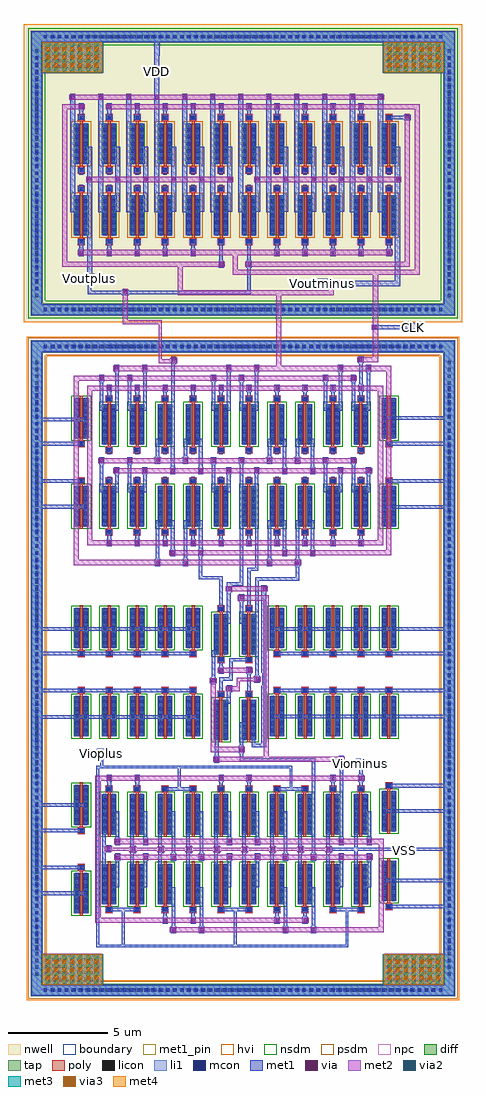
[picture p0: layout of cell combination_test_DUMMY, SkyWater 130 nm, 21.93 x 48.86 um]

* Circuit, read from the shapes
.subckt combination_test_DUMMY CLK VDD VSS Viominus Vioplus Voutminus Voutplus
XM1 VSS VSS VSS VSS sky130_fd_pr__nfet_01v8 w=2 l=0.15 m=28
XM2 n1 Vioplus VSS VSS sky130_fd_pr__nfet_01v8 w=2 l=0.15 m=10
XM3 n2 Viominus VSS VSS sky130_fd_pr__nfet_01v8 w=2 l=0.15 m=10
XM4 Voutplus CLK n3 VSS sky130_fd_pr__nfet_01v8 w=2 l=0.15 m=10
XM5 Voutminus CLK n4 VSS sky130_fd_pr__nfet_01v8 w=2 l=0.15 m=10
XM6 n4 Voutplus n2 VSS sky130_fd_pr__nfet_01v8 w=2 l=0.15 m=2
XM7 n3 Voutminus n1 VSS sky130_fd_pr__nfet_01v8 w=2 l=0.15 m=2
XM8 Voutplus CLK VDD VDD sky130_fd_pr__pfet_g5v0d10v5 w=2 l=0.15 m=10
XM9 Voutplus Voutminus VDD VDD sky130_fd_pr__pfet_g5v0d10v5 w=2 l=0.15 m=2
XM10 Voutminus Voutplus VDD VDD sky130_fd_pr__pfet_g5v0d10v5 w=2 l=0.15 m=2
XM11 Voutminus CLK VDD VDD sky130_fd_pr__pfet_g5v0d10v5 w=2 l=0.15 m=10
.ends

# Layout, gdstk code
import gdstk
lib = gdstk.Library(unit=1e-6, precision=1e-09)
def R(c, l, rs):  # rectangles x0, y0, x1, y1
    for r in rs: c.add(gdstk.rectangle(r[:2], r[2:], *l))
def A(c, l, x, y, w, h, nx, ny, dx, dy):  # array of equal rectangles
    R(c, l, [(x+i*dx, y+j*dy, x+i*dx+w, y+j*dy+h) for i in range(nx) for j in range(ny)])
nwell = (64, 20)
diff = (65, 20)
tap = (65, 44)
poly = (66, 20)
licon = (66, 44)
li1 = (67, 20)
mcon = (67, 44)
met1_pin = (68, 16)
met1 = (68, 20)
via = (68, 44)
met2 = (69, 20)
via2 = (69, 44)
met3 = (70, 20)
via3 = (70, 44)
met4 = (71, 20)
hvi = (75, 20)
nsdm = (93, 44)
psdm = (94, 20)
npc = (95, 20)
boundary = (235, 4)

sky130_fd_pr__nfet_01v8_ = lib.new_cell('sky130_fd_pr__nfet_01v8_72KZQ8')
R(sky130_fd_pr__nfet_01v8_, diff, [(-0.365,-1.155,0.365,0.845)])
R(sky130_fd_pr__nfet_01v8_, poly, [(-0.075,-1.285,0.075,0.955), (-0.165,0.955,0.165,1.285)])
A(sky130_fd_pr__nfet_01v8_, licon, -0.305, -1.09, 0.17, 0.17, 1, 6, 0, 0.34)
A(sky130_fd_pr__nfet_01v8_, licon, 0.135, -1.09, 0.17, 0.17, 1, 6, 0, 0.34)
R(sky130_fd_pr__nfet_01v8_, licon, [(-0.085,1.035,0.085,1.205)])
R(sky130_fd_pr__nfet_01v8_, li1, [(-0.305,-1.175,-0.135,0.865), (0.135,-1.175,0.305,0.865), (-0.165,1.035,0.165,1.205)])
A(sky130_fd_pr__nfet_01v8_, mcon, -0.305, -0.96, 0.17, 0.17, 1, 5, 0, 0.36)
A(sky130_fd_pr__nfet_01v8_, mcon, 0.135, -0.96, 0.17, 0.17, 1, 5, 0, 0.36)
R(sky130_fd_pr__nfet_01v8_, mcon, [(-0.085,1.035,0.085,1.205)])
R(sky130_fd_pr__nfet_01v8_, met1, [(-0.335,-1.155,-0.105,0.845), (0.105,-1.155,0.335,0.845), (-0.145,1.005,0.145,1.235)])
R(sky130_fd_pr__nfet_01v8_, nsdm, [(-0.49,-1.28,0.49,0.97)])
R(sky130_fd_pr__nfet_01v8_, npc, [(-0.185,0.935,0.185,1.305)])

c_sky130_fd_pr__nfet_01v8_ = lib.new_cell('sky130_fd_pr__nfet_01v8_PRFKA7')
R(c_sky130_fd_pr__nfet_01v8_, diff, [(-0.365,-0.845,0.365,1.155)])
R(c_sky130_fd_pr__nfet_01v8_, poly, [(-0.165,-1.285,0.165,-0.955), (-0.075,-0.955,0.075,1.285)])
A(c_sky130_fd_pr__nfet_01v8_, licon, -0.305, -0.78, 0.17, 0.17, 1, 6, 0, 0.34)
A(c_sky130_fd_pr__nfet_01v8_, licon, 0.135, -0.78, 0.17, 0.17, 1, 6, 0, 0.34)
R(c_sky130_fd_pr__nfet_01v8_, licon, [(-0.085,-1.205,0.085,-1.035)])
R(c_sky130_fd_pr__nfet_01v8_, li1, [(-0.165,-1.205,0.165,-1.035), (-0.305,-0.865,-0.135,1.175), (0.135,-0.865,0.305,1.175)])
A(c_sky130_fd_pr__nfet_01v8_, mcon, -0.305, -0.65, 0.17, 0.17, 1, 5, 0, 0.36)
A(c_sky130_fd_pr__nfet_01v8_, mcon, 0.135, -0.65, 0.17, 0.17, 1, 5, 0, 0.36)
R(c_sky130_fd_pr__nfet_01v8_, mcon, [(-0.085,-1.205,0.085,-1.035)])
R(c_sky130_fd_pr__nfet_01v8_, met1, [(-0.145,-1.235,0.145,-1.005), (-0.335,-0.845,-0.105,1.155), (0.105,-0.845,0.335,1.155)])
R(c_sky130_fd_pr__nfet_01v8_, nsdm, [(-0.49,-0.97,0.49,1.28)])
R(c_sky130_fd_pr__nfet_01v8_, npc, [(-0.185,-1.305,0.185,-0.935)])

c_sky130_fd_pr__nfet_01v8__ = lib.new_cell('sky130_fd_pr__nfet_01v8_PHZV97')
R(c_sky130_fd_pr__nfet_01v8__, diff, [(-0.365,-1,0.365,1)])
R(c_sky130_fd_pr__nfet_01v8__, poly, [(-0.165,-1.44,0.165,-1.11), (-0.075,-1.11,0.075,1.11), (-0.165,1.11,0.165,1.44)])
A(c_sky130_fd_pr__nfet_01v8__, licon, -0.305, -0.935, 0.17, 0.17, 1, 6, 0, 0.34)
A(c_sky130_fd_pr__nfet_01v8__, licon, 0.135, -0.935, 0.17, 0.17, 1, 6, 0, 0.34)
R(c_sky130_fd_pr__nfet_01v8__, licon, [(-0.085,-1.36,0.085,-1.19), (-0.085,1.19,0.085,1.36)])
R(c_sky130_fd_pr__nfet_01v8__, li1, [(-0.165,-1.36,0.165,-1.19), (-0.305,-1.02,-0.135,1.02), (0.135,-1.02,0.305,1.02), (-0.165,1.19,0.165,1.36)])
A(c_sky130_fd_pr__nfet_01v8__, mcon, -0.305, -0.805, 0.17, 0.17, 1, 5, 0, 0.36)
A(c_sky130_fd_pr__nfet_01v8__, mcon, 0.135, -0.805, 0.17, 0.17, 1, 5, 0, 0.36)
R(c_sky130_fd_pr__nfet_01v8__, mcon, [(-0.085,-1.36,0.085,-1.19), (-0.085,1.19,0.085,1.36)])
R(c_sky130_fd_pr__nfet_01v8__, met1, [(-0.145,-1.39,0.145,-1.16), (-0.335,-1,-0.105,1), (0.105,-1,0.335,1), (-0.145,1.16,0.145,1.39)])
R(c_sky130_fd_pr__nfet_01v8__, nsdm, [(-0.49,-1.125,0.49,1.125)])
R(c_sky130_fd_pr__nfet_01v8__, npc, [(-0.185,-1.46,0.185,-1.09), (-0.185,1.09,0.185,1.46)])

sky130_fd_pr__pfet_01v8_ = lib.new_cell('sky130_fd_pr__pfet_01v8_MJ75SZ')
R(sky130_fd_pr__pfet_01v8_, nwell, [(-0.545,-1.5,0.545,1.5)])
R(sky130_fd_pr__pfet_01v8_, diff, [(-0.365,-1,0.365,1)])
R(sky130_fd_pr__pfet_01v8_, poly, [(-0.165,-1.485,0.165,-1.155), (-0.075,-1.155,0.075,1.155), (-0.165,1.155,0.165,1.485)])
A(sky130_fd_pr__pfet_01v8_, licon, -0.305, -0.935, 0.17, 0.17, 1, 6, 0, 0.34)
A(sky130_fd_pr__pfet_01v8_, licon, 0.135, -0.935, 0.17, 0.17, 1, 6, 0, 0.34)
R(sky130_fd_pr__pfet_01v8_, licon, [(-0.085,-1.405,0.085,-1.235), (-0.085,1.235,0.085,1.405)])
R(sky130_fd_pr__pfet_01v8_, li1, [(-0.165,-1.405,0.165,-1.235), (-0.305,-1.02,-0.135,1.02), (0.135,-1.02,0.305,1.02), (-0.165,1.235,0.165,1.405)])
A(sky130_fd_pr__pfet_01v8_, mcon, -0.305, -0.805, 0.17, 0.17, 1, 5, 0, 0.36)
A(sky130_fd_pr__pfet_01v8_, mcon, 0.135, -0.805, 0.17, 0.17, 1, 5, 0, 0.36)
R(sky130_fd_pr__pfet_01v8_, mcon, [(-0.085,-1.405,0.085,-1.235), (-0.085,1.235,0.085,1.405)])
R(sky130_fd_pr__pfet_01v8_, met1, [(-0.145,-1.435,0.145,-1.205), (-0.335,-1,-0.105,1), (0.105,-1,0.335,1), (-0.145,1.205,0.145,1.435)])
R(sky130_fd_pr__pfet_01v8_, psdm, [(-0.49,-1.125,0.49,1.125)])
R(sky130_fd_pr__pfet_01v8_, npc, [(-0.185,-1.505,0.185,-1.135), (-0.185,1.135,0.185,1.505)])

c_sky130_fd_pr__nfet_01v8___ = lib.new_cell('sky130_fd_pr__nfet_01v8_7B6TAC')
R(c_sky130_fd_pr__nfet_01v8___, diff, [(-0.365,-0.845,0.365,1.155)])
R(c_sky130_fd_pr__nfet_01v8___, poly, [(-0.165,-1.285,0.165,-0.955), (-0.075,-0.955,0.075,1.285)])
A(c_sky130_fd_pr__nfet_01v8___, licon, -0.305, -0.78, 0.17, 0.17, 1, 6, 0, 0.34)
A(c_sky130_fd_pr__nfet_01v8___, licon, 0.135, -0.78, 0.17, 0.17, 1, 6, 0, 0.34)
R(c_sky130_fd_pr__nfet_01v8___, licon, [(-0.085,-1.205,0.085,-1.035)])
R(c_sky130_fd_pr__nfet_01v8___, li1, [(-0.165,-1.205,0.165,-1.035), (-0.305,-0.865,-0.135,1.175), (0.135,-0.865,0.305,1.175)])
A(c_sky130_fd_pr__nfet_01v8___, mcon, -0.305, -0.65, 0.17, 0.17, 1, 5, 0, 0.36)
A(c_sky130_fd_pr__nfet_01v8___, mcon, 0.135, -0.65, 0.17, 0.17, 1, 5, 0, 0.36)
R(c_sky130_fd_pr__nfet_01v8___, mcon, [(-0.085,-1.205,0.085,-1.035)])
R(c_sky130_fd_pr__nfet_01v8___, met1, [(-0.145,-1.235,0.145,-1.005), (-0.335,-0.845,-0.105,1.155), (0.105,-0.845,0.335,1.155)])
R(c_sky130_fd_pr__nfet_01v8___, nsdm, [(-0.49,-0.97,0.49,1.28)])
R(c_sky130_fd_pr__nfet_01v8___, npc, [(-0.185,-1.305,0.185,-0.935)])

combination_test_dummy = lib.new_cell('combination_test_DUMMY')
R(combination_test_dummy, nwell, [(-2.87,-8.94,19.06,6)])
R(combination_test_dummy, tap, [(-2.54,-42.67,18.73,-42.05), (-2.54,-42.05,-1.92,-10.45), (18.11,-42.05,18.73,-10.45), (-2.54,-10.45,18.73,-9.83), (-2.54,-8.61,18.73,-7.99), (-2.54,-7.99,-1.92,5.05), (18.11,-7.99,18.73,5.05), (-2.54,5.05,18.73,5.67)])
A(combination_test_dummy, licon, -1.51, -42.445, 0.17, 0.17, 57, 2, 0.34, 32.22)
A(combination_test_dummy, licon, -2.315, -41.635, 0.17, 0.17, 1, 91, 0, 0.34)
A(combination_test_dummy, licon, 18.335, -41.635, 0.17, 0.17, 1, 91, 0, 0.34)
A(combination_test_dummy, licon, -1.51, -8.385, 0.17, 0.17, 57, 2, 0.34, 13.66)
A(combination_test_dummy, licon, -2.315, -7.675, 0.17, 0.17, 1, 37, 0, 0.34)
A(combination_test_dummy, licon, 18.335, -7.675, 0.17, 0.17, 1, 37, 0, 0.34)
R(combination_test_dummy, li1, [(-2.48,-42.61,18.67,-42.11), (-2.48,-42.11,-1.98,-10.39), (18.17,-42.11,18.67,-10.39), (-2.48,-10.39,18.67,-9.89), (-2.48,-8.55,18.67,-8.05), (-2.48,-8.05,-1.98,5.11), (18.17,-8.05,18.67,5.11), (-2.48,5.11,18.67,5.61)])
A(combination_test_dummy, mcon, -1.89, -42.445, 0.17, 0.17, 56, 2, 0.36, 32.22)
A(combination_test_dummy, mcon, -2.315, -40.375, 0.17, 0.17, 1, 79, 0, 0.36)
A(combination_test_dummy, mcon, 18.335, -40.375, 0.17, 0.17, 1, 79, 0, 0.36)
A(combination_test_dummy, mcon, -1.89, -8.385, 0.17, 0.17, 56, 2, 0.36, 13.66)
A(combination_test_dummy, mcon, -2.315, -7.315, 0.17, 0.17, 1, 33, 0, 0.36)
A(combination_test_dummy, mcon, 18.335, -7.315, 0.17, 0.17, 1, 33, 0, 0.36)
R(combination_test_dummy, met1_pin, [(15.92,-35.6,16.42,-35.1), (13.75,-31.28,14.25,-30.78), (0.77,-30.78,1.27,-30.28), (16.37,-9.46,16.87,-8.96), (11.84,-7.24,12.34,-6.74), (0.17,-7,0.67,-6.5), (3.53,3.35,4.03,3.85)])
A(combination_test_dummy, met1, 2.03, -40.08, 0.14, 1.66, 3, 1, 5.6, 0)
A(combination_test_dummy, met1, 1.31, -38.42, 1.58, 0.18, 3, 1, 5.6, 0)
A(combination_test_dummy, met1, 2.46, -36.12, 0.17, 0.62, 8, 1, 1.4, 0)
A(combination_test_dummy, met1, 1.69, -35.88, 0.26, 0.36, 10, 1, 1.4, 0)
A(combination_test_dummy, met1, 2.46, -35.5, 0.26, 0.36, 7, 1, 1.4, 0)
A(combination_test_dummy, met1, 2.46, -35.14, 0.17, 0.64, 8, 1, 1.4, 0)
A(combination_test_dummy, met1, 1.27, -20.14, 0.26, 0.36, 10, 2, 1.4, 7.72)
A(combination_test_dummy, met1, 1.31, -19.78, 0.18, 0.27, 10, 2, 1.4, 7.09)
A(combination_test_dummy, met1, 1.31, -16.96, 0.18, 0.3, 10, 2, 1.4, 1.42)
A(combination_test_dummy, met1, 1.65, -16.54, 0.26, 0.36, 10, 1, 1.4, 0)
A(combination_test_dummy, met1, -0.13, -5.62, 0.26, 0.36, 5, 1, 1.4, 0)
A(combination_test_dummy, met1, 9.67, -5.62, 0.26, 0.36, 5, 1, 1.4, 0)
A(combination_test_dummy, met1, -0.09, -5.26, 0.18, 0.45, 5, 1, 1.4, 0)
A(combination_test_dummy, met1, 9.71, -5.26, 0.18, 0.45, 5, 1, 1.4, 0)
A(combination_test_dummy, met1, -0.55, -3.42, 0.26, 5.93, 3, 1, 1.4, 0)
A(combination_test_dummy, met1, 5.05, -3.42, 0.26, 5.93, 8, 1, 1.4, 0)
A(combination_test_dummy, met1, 1.7, -3.41, 0.26, 3.26, 10, 1, 1.4, 0)
A(combination_test_dummy, met1, -0.09, -2.35, 0.18, 0.31, 12, 2, 1.4, 0.81)
A(combination_test_dummy, met1, -0.09, 1.23, 0.18, 0.45, 11, 1, 1.4, 0)
A(combination_test_dummy, met1, -0.13, 1.68, 0.26, 0.36, 11, 1, 1.4, 0)
R(combination_test_dummy, met1, [(-2.51,-42.64,18.7,-42.08), (-2.51,-42.08,1.1,-40.58), (15.09,-42.08,18.7,-40.58), (-2.51,-40.58,-1.95,-37.6), (18.14,-40.58,18.7,-38.26), (0.75,-40.22,13.37,-40.08), (0.75,-40.08,0.89,-31.26), (4.49,-39.52,4.75,-39.16), (5.89,-39.52,6.15,-39.16), (10.09,-39.52,10.35,-39.16), (11.49,-39.52,11.75,-39.16), (4.53,-39.16,4.71,-37.21), (5.93,-39.16,6.11,-37.21), (10.13,-39.16,10.31,-37.21), (11.53,-39.16,11.71,-37.21), (4.07,-39.05,4.33,-38.69), (5.47,-39.05,5.73,-38.69), (9.67,-39.05,9.93,-38.69), (11.07,-39.05,11.33,-38.69), (4.11,-38.69,4.29,-38.42), (5.51,-38.69,5.69,-38.42), (9.71,-38.69,9.89,-38.42), (11.11,-38.69,11.29,-38.42), (15.31,-38.26,18.7,-38.08), (18.14,-38.08,18.7,-36.97), (-2.51,-37.6,0.3,-37.42), (-2.51,-37.42,-1.95,-36.32), (1.73,-37.21,1.91,-35.88), (3.13,-37.21,3.31,-35.88), (7.33,-37.21,7.51,-35.88), (8.73,-37.21,8.91,-35.88), (12.93,-37.21,13.11,-35.88), (14.33,-37.21,14.51,-35.88), (15.16,-36.97,18.7,-36.79), (18.14,-36.79,18.7,-35.38), (-2.51,-36.32,0.09,-36.14), (-2.51,-36.14,-1.95,-34.46), (1.06,-36.12,1.23,-35.46), (13.66,-36.12,13.83,-35.38), (15.92,-35.6,16.42,-35.38), (4.53,-35.52,4.71,-33.41), (5.93,-35.52,6.11,-33.41), (10.13,-35.52,10.31,-33.41), (11.53,-35.52,11.71,-30.91), (12.26,-35.5,12.52,-35.38), (1.06,-35.46,1.49,-35.1), (12.26,-35.38,18.7,-35.24), (12.26,-35.24,12.52,-35.14), (13.66,-35.24,13.83,-34.5), (15.92,-35.24,16.42,-35.1), (17.39,-35.24,18.7,-35.23), (18.14,-35.23,18.7,-33.49), (1.06,-35.1,1.23,-34.5), (1.69,-35.1,1.95,-34.74), (3.09,-35.1,3.35,-34.74), (7.29,-35.1,7.55,-34.74), (8.69,-35.1,8.95,-34.74), (12.89,-35.1,13.15,-34.74), (14.29,-35.1,14.55,-34.74), (1.73,-34.74,1.91,-33.41), (3.13,-34.74,3.31,-33.41), (7.33,-34.74,7.51,-33.41), (8.73,-34.74,8.91,-33.41), (12.93,-34.74,13.11,-33.66), (14.33,-34.74,14.51,-33.41), (-2.51,-34.46,0.09,-34.28), (-2.51,-34.28,-1.95,-33.18), (12.93,-33.66,13.12,-30.98), (15.15,-33.49,18.7,-33.31), (18.14,-33.31,18.7,-32.22), (-2.51,-33.18,0.27,-33), (-2.51,-33,-1.95,-28.77), (1.31,-32.38,1.49,-31.93), (2.71,-32.38,2.89,-31.93), (4.11,-32.38,5.69,-32.2), (6.91,-32.38,7.09,-31.93), (8.31,-32.38,8.49,-31.93), (9.71,-32.38,11.29,-32.2), (12.51,-32.38,12.69,-31.93), (13.91,-32.38,14.09,-31.93), (15.31,-32.22,18.7,-32.04), (4.83,-32.2,4.97,-31.26), (10.43,-32.2,10.57,-31.26), (18.14,-32.04,18.7,-28.75), (1.27,-31.93,1.53,-31.57), (2.67,-31.93,2.93,-31.57), (6.87,-31.93,7.13,-31.57), (8.27,-31.93,8.53,-31.57), (12.47,-31.93,12.73,-31.57), (13.87,-31.93,14.13,-31.57), (13.91,-31.57,14.08,-31.28), (13.75,-31.28,14.25,-30.78), (0.75,-31.26,10.57,-31.12), (0.95,-31.12,1.09,-30.78), (6.65,-30.98,6.91,-30.62), (12.88,-30.98,13.14,-30.62), (7.92,-30.91,11.71,-30.75), (0.77,-30.78,1.27,-30.28), (7.92,-30.75,8.1,-30.5), (6.69,-30.62,6.87,-29.76), (7.88,-30.5,8.14,-30.14), (8.53,-30.2,9.27,-30.02), (7.92,-30.14,8.1,-28.96), (8.53,-30.02,8.71,-28.96), (9.02,-30.02,9.27,-27.12), (-2.51,-28.77,5.88,-28.59), (9.55,-28.75,18.7,-28.57), (-2.51,-28.59,-1.95,-27.46), (18.14,-28.57,18.7,-27.46), (7.29,-28.03,7.47,-27.45), (6.91,-27.47,7.09,-26.88), (-2.51,-27.46,5.69,-27.28), (8.31,-27.46,8.49,-26.53), (9.71,-27.46,18.7,-27.28), (7.29,-27.45,7.55,-27.09), (-2.51,-27.28,-1.95,-25.6), (18.14,-27.28,18.7,-25.6), (9.07,-27.12,9.27,-26.48), (6.48,-27.05,6.74,-26.69), (8.67,-26.98,8.93,-26.62), (6.91,-26.88,7.57,-26.71), (7.4,-26.71,7.57,-25.91), (6.52,-26.69,6.7,-25.34), (8.7,-26.62,8.88,-21.88), (6.87,-26.53,7.13,-26.17), (8.27,-26.53,8.53,-26.17), (9.02,-26.48,9.27,-22.43), (6.91,-26.17,7.09,-25.74), (7.4,-25.91,8.49,-25.74), (-2.51,-25.6,5.69,-25.42), (9.71,-25.6,18.7,-25.42), (-2.51,-25.42,-1.95,-24.38), (18.14,-25.42,18.7,-24.38), (-2.51,-24.38,5.9,-24.2), (9.59,-24.38,18.7,-24.2), (-2.51,-24.2,-1.95,-18.26), (18.14,-24.2,18.7,-18.26), (7.92,-24.02,8.1,-22.91), (7.3,-24.01,7.47,-23.8), (7.29,-23.8,7.47,-22.45), (8.31,-23.36,8.49,-21.38), (6.91,-23.18,7.09,-21.79), (7.89,-22.91,8.15,-22.55), (7.29,-22.45,7.55,-22.13), (9.02,-22.43,9.28,-22.09), (7.29,-22.13,8.11,-21.95), (7.93,-21.95,8.11,-16.04), (8.7,-21.88,10.91,-21.69), (5.89,-21.79,7.09,-21.64), (10.74,-21.69,10.91,-21.14), (5.89,-21.64,6.06,-20.64), (8.31,-21.38,8.87,-21.23), (8.7,-21.23,8.87,-17.45), (3.69,-21.14,3.95,-20.78), (5.09,-21.14,5.35,-20.78), (9.29,-21.14,9.55,-20.78), (10.69,-21.14,10.95,-20.78), (3.73,-20.78,3.91,-18.85), (5.13,-20.78,5.31,-18.85), (9.33,-20.78,9.51,-18.85), (10.73,-20.78,10.91,-18.85), (4.45,-20.64,4.71,-20.28), (5.85,-20.64,6.11,-20.28), (10.05,-20.64,10.31,-20.28), (11.45,-20.64,11.71,-20.28), (4.49,-20.28,4.67,-18.85), (5.89,-20.28,6.07,-18.85), (10.09,-20.28,10.27,-18.85), (11.49,-20.28,11.67,-18.85), (-2.51,-18.26,0.25,-18.07), (15.14,-18.26,18.7,-18.08), (18.14,-18.08,18.7,-16.96), (-2.51,-18.07,-1.95,-16.96), (1.69,-17.45,1.87,-16.54), (2.33,-17.45,2.51,-16.04), (3.09,-17.45,3.27,-16.54), (6.53,-17.45,6.71,-16.04), (7.29,-17.45,7.47,-16.54), (8.69,-17.45,8.87,-16.54), (12.13,-17.45,12.31,-16.04), (12.89,-17.45,13.07,-16.54), (13.53,-17.45,13.71,-16.04), (14.29,-17.45,14.47,-16.54), (0.93,-17.44,1.11,-16.04), (-2.51,-16.96,0.095,-16.78), (15.3,-16.96,18.7,-16.78), (-2.51,-16.78,-1.95,-15.1), (18.14,-16.78,18.7,-15.1), (4.49,-16.18,4.67,-15.27), (5.89,-16.18,6.07,-14.75), (10.09,-16.18,10.27,-14.75), (11.49,-16.18,11.67,-14.75), (0.89,-16.04,1.15,-15.68), (2.29,-16.04,2.55,-15.68), (6.49,-16.04,6.75,-15.68), (7.89,-16.04,8.15,-15.68), (12.09,-16.04,12.35,-15.68), (13.49,-16.04,13.75,-15.68), (3.69,-16.02,3.95,-15.66), (5.09,-16.02,5.35,-15.66), (9.29,-16.02,9.55,-15.66), (10.69,-16.02,10.95,-15.66), (3.73,-15.66,3.91,-14.75), (5.13,-15.66,5.31,-14.75), (9.33,-15.66,9.51,-14.75), (10.73,-15.66,10.91,-14.75), (4.49,-15.27,4.68,-14.75), (-2.51,-15.1,0.09,-14.92), (15.31,-15.1,18.7,-14.92), (-2.51,-14.92,-1.95,-13.89), (18.14,-14.92,18.7,-13.81), (4.5,-14.75,4.68,-11.02), (-2.51,-13.89,0.25,-13.71), (15.22,-13.81,18.7,-13.63), (-2.51,-13.71,-1.95,-10.42), (18.14,-13.63,18.7,-10.42), (0.93,-13.35,1.11,-11.92), (1.69,-13.35,1.87,-11.42), (2.33,-13.35,2.51,-11.92), (3.09,-13.35,3.27,-11.42), (6.53,-13.35,6.71,-11.92), (7.29,-13.35,7.47,-11.42), (7.93,-13.35,8.11,-11.92), (8.69,-13.35,8.87,-11.42), (12.13,-13.35,12.31,-11.92), (12.89,-13.35,13.07,-11.42), (13.53,-13.35,13.71,-11.92), (14.29,-13.35,14.47,-11.42), (13.91,-12.06,14.09,-10.98), (0.89,-11.92,1.15,-11.56), (2.29,-11.92,2.55,-11.56), (6.49,-11.92,6.75,-11.56), (7.89,-11.92,8.15,-11.56), (12.09,-11.92,12.35,-11.56), (13.49,-11.92,13.75,-11.56), (1.65,-11.42,1.91,-11.06), (3.05,-11.42,3.31,-11.06), (7.25,-11.42,7.51,-11.06), (8.65,-11.42,8.91,-11.06), (12.85,-11.42,13.11,-11.06), (14.25,-11.42,14.51,-11.06), (4.5,-11.02,4.76,-10.66), (13.87,-10.98,14.13,-10.62), (-2.51,-10.42,18.7,-9.86), (16.37,-9.46,16.87,-9.27), (14.53,-9.31,14.89,-9.27), (14.53,-9.27,16.87,-9.08), (14.53,-9.08,14.89,-9.05), (16.37,-9.08,16.87,-8.96), (-2.51,-8.58,18.7,-8.02), (-2.51,-8.02,-1.95,3.58), (18.14,-8.02,18.7,3.58), (2.02,-7.57,2.38,-7.54), (0.33,-7.54,8.49,-7.36), (0.33,-7.36,0.51,-7), (2.02,-7.36,2.38,-7.31), (8.31,-7.36,8.49,-6.2), (11.84,-7.24,12.34,-7.12), (11.84,-7.12,15.96,-6.86), (0.17,-7,0.67,-6.5), (11.84,-6.86,12.34,-6.74), (15.7,-6.86,15.96,-0.15), (0.3,-6.5,0.56,-0.15), (6.87,-6.2,7.13,-5.84), (8.27,-6.2,8.53,-5.84), (6.91,-5.84,7.09,-4.81), (8.31,-5.84,8.49,-4.81), (3.65,-3.42,3.91,3.35), (16.14,1.19,16.5,1.23), (15.31,1.23,16.5,1.41), (16.14,1.41,16.5,1.45), (3.53,3.35,4.03,3.85), (-2.51,3.58,1.1,5.08), (15.09,3.58,18.7,5.08), (3.65,3.85,3.91,4.4), (3.64,4.4,3.92,5.08), (-2.51,5.08,18.7,5.64)])
A(combination_test_dummy, via, -1.805, -41.885, 0.15, 0.15, 9, 4, 0.32, 0.32)
A(combination_test_dummy, via, 15.285, -41.885, 0.15, 0.15, 9, 4, 0.32, 0.32)
A(combination_test_dummy, via, 1.745, -35.775, 0.15, 0.15, 10, 1, 1.4, 0)
A(combination_test_dummy, via, 2.515, -35.395, 0.15, 0.15, 8, 1, 1.4, 0)
A(combination_test_dummy, via, 1.325, -20.035, 0.15, 0.15, 10, 2, 1.4, 7.72)
A(combination_test_dummy, via, 1.705, -16.435, 0.15, 0.15, 10, 1, 1.4, 0)
A(combination_test_dummy, via, -0.075, -5.515, 0.15, 0.15, 5, 1, 1.4, 0)
A(combination_test_dummy, via, 9.725, -5.515, 0.15, 0.15, 5, 1, 1.4, 0)
A(combination_test_dummy, via, 0.355, -1.855, 0.15, 0.15, 12, 1, 1.4, 0)
A(combination_test_dummy, via, -0.075, 1.785, 0.15, 0.15, 11, 1, 1.4, 0)
A(combination_test_dummy, via, -0.495, 2.255, 0.15, 0.15, 12, 1, 1.4, 0)
A(combination_test_dummy, via, -1.805, 3.775, 0.15, 0.15, 9, 4, 0.32, 0.32)
A(combination_test_dummy, via, 15.285, 3.775, 0.15, 0.15, 9, 4, 0.32, 0.32)
R(combination_test_dummy, via, [(4.545,-39.415,4.695,-39.265), (5.945,-39.415,6.095,-39.265), (10.145,-39.415,10.295,-39.265), (11.545,-39.415,11.695,-39.265), (4.125,-38.945,4.275,-38.795), (5.525,-38.945,5.675,-38.795), (9.725,-38.945,9.875,-38.795), (11.125,-38.945,11.275,-38.795), (1.285,-35.355,1.435,-35.205), (1.745,-34.995,1.895,-34.845), (3.145,-34.995,3.295,-34.845), (7.345,-34.995,7.495,-34.845), (8.745,-34.995,8.895,-34.845), (12.945,-34.995,13.095,-34.845), (14.345,-34.995,14.495,-34.845), (1.325,-31.825,1.475,-31.675), (2.725,-31.825,2.875,-31.675), (6.925,-31.825,7.075,-31.675), (8.325,-31.825,8.475,-31.675), (12.525,-31.825,12.675,-31.675), (13.925,-31.825,14.075,-31.675), (6.705,-30.875,6.855,-30.725), (12.935,-30.875,13.085,-30.725), (7.935,-30.395,8.085,-30.245), (7.345,-27.345,7.495,-27.195), (6.535,-26.945,6.685,-26.795), (8.725,-26.875,8.875,-26.725), (6.925,-26.425,7.075,-26.275), (8.325,-26.425,8.475,-26.275), (7.945,-22.805,8.095,-22.655), (7.345,-22.345,7.495,-22.195), (9.075,-22.345,9.225,-22.195), (3.745,-21.035,3.895,-20.885), (5.145,-21.035,5.295,-20.885), (9.345,-21.035,9.495,-20.885), (10.745,-21.035,10.895,-20.885), (4.505,-20.535,4.655,-20.385), (5.905,-20.535,6.055,-20.385), (10.105,-20.535,10.255,-20.385), (11.505,-20.535,11.655,-20.385), (0.945,-15.935,1.095,-15.785), (2.345,-15.935,2.495,-15.785), (6.545,-15.935,6.695,-15.785), (7.945,-15.935,8.095,-15.785), (12.145,-15.935,12.295,-15.785), (13.545,-15.935,13.695,-15.785), (3.745,-15.915,3.895,-15.765), (5.145,-15.915,5.295,-15.765), (9.345,-15.915,9.495,-15.765), (10.745,-15.915,10.895,-15.765), (0.945,-11.815,1.095,-11.665), (2.345,-11.815,2.495,-11.665), (6.545,-11.815,6.695,-11.665), (7.945,-11.815,8.095,-11.665), (12.145,-11.815,12.295,-11.665), (13.545,-11.815,13.695,-11.665), (1.705,-11.315,1.855,-11.165), (3.105,-11.315,3.255,-11.165), (7.305,-11.315,7.455,-11.165), (8.705,-11.315,8.855,-11.165), (12.905,-11.315,13.055,-11.165), (14.305,-11.315,14.455,-11.165), (4.555,-10.915,4.705,-10.765), (13.925,-10.875,14.075,-10.725), (14.635,-9.255,14.785,-9.105), (2.125,-7.515,2.275,-7.365), (12.445,-7.065,12.595,-6.915), (6.925,-6.095,7.075,-5.945), (8.325,-6.095,8.475,-5.945), (16.245,1.245,16.395,1.395)])
A(combination_test_dummy, met2, 3.06, -35.59, 0.32, 0.02, 8, 1, 1.4, 0)
A(combination_test_dummy, met2, 2.41, -35.45, 0.36, 0.07, 8, 1, 1.4, 0)
A(combination_test_dummy, met2, 2.41, -35.24, 0.36, 0.05, 8, 1, 1.4, 0)
A(combination_test_dummy, met2, 1.22, 1.98, 0.36, 0.01, 10, 1, 1.4, 0)
R(combination_test_dummy, met2, [(-1.95,-42.13,1.05,-40.53), (15.14,-42.13,18.14,-40.53), (4.44,-39.47,15.13,-39.21), (14.89,-39.21,15.13,-35.05), (0.69,-39,11.38,-38.74), (0.69,-38.74,0.98,-31.88), (1.64,-35.83,14.6,-35.59), (1.64,-35.59,1.98,-35.57), (14.26,-35.59,14.6,-35.57), (1.18,-35.41,1.54,-35.38), (1.18,-35.38,12.57,-35.24), (1.18,-35.24,1.54,-35.15), (1.64,-35.05,15.13,-34.79), (0.69,-31.88,14.18,-31.62), (6.6,-30.93,13.19,-30.67), (9.13,-30.67,9.38,-22.86), (6.48,-30.45,8.19,-30.19), (6.48,-30.19,6.74,-27), (7.24,-27.4,7.94,-27.14), (7.77,-27.14,7.94,-26.9), (6.43,-27,6.79,-26.74), (8.62,-26.93,8.98,-26.9), (7.77,-26.9,8.98,-26.73), (8.62,-26.73,8.98,-26.67), (6.82,-26.48,8.58,-26.22), (7.84,-22.86,9.38,-22.6), (7.24,-22.4,9.33,-22.14), (-0.38,-21.09,11,-20.83), (-0.38,-20.83,-0.12,-11.87), (4.4,-20.59,15.52,-20.33), (15.26,-20.33,15.52,-11.37), (0.29,-20.09,15.11,-19.83), (0.29,-19.83,0.55,-12.37), (14.85,-19.83,15.11,-12.37), (1.65,-16.5,14.51,-16.49), (1.6,-16.49,14.56,-16.23), (0.84,-15.99,13.8,-15.73), (3.64,-15.73,4,-15.71), (5.04,-15.73,5.4,-15.71), (9.24,-15.73,9.6,-15.71), (10.64,-15.73,11,-15.71), (0.29,-12.37,15.11,-12.11), (-0.38,-11.87,13.8,-11.61), (1.6,-11.37,15.52,-11.11), (9.77,-11.11,10,-7.59), (3.87,-10.97,4.81,-10.77), (14.58,-10.94,14.86,-10.93), (13.82,-10.93,14.86,-10.67), (3.87,-10.77,4.03,-9.02), (4.45,-10.77,4.81,-10.71), (14.58,-10.67,14.86,-6.55), (2.07,-9.02,4.03,-8.82), (2.07,-8.82,2.33,-7.26), (4.82,-7.59,12.65,-7.33), (4.82,-7.33,5.08,-6.15), (9.77,-7.33,10,-7.32), (12.39,-7.33,12.65,-6.81), (7.57,-6.55,16.95,-6.29), (7.57,-6.29,7.83,-5.57), (16.69,-6.29,16.95,1.73), (-0.95,-6.15,7.18,-5.89), (8.22,-6.15,16.45,-5.89), (-0.95,-5.89,-0.69,1.73), (16.19,-5.89,16.45,1.5), (-0.18,-5.57,15.58,-5.31), (0.25,-1.91,7.61,-1.65), (8.65,-1.91,16.01,-1.65), (-0.95,1.73,0.18,1.99), (1.22,1.73,16.95,1.98), (16.69,1.98,16.95,1.99), (-0.6,2.2,15.16,2.46), (-1.95,3.53,1.05,5.13), (15.14,3.53,18.14,5.13)])
A(combination_test_dummy, via2, -1.75, -42.03, 0.2, 0.2, 7, 4, 0.4, 0.4)
A(combination_test_dummy, via2, 15.34, -42.03, 0.2, 0.2, 7, 4, 0.4, 0.4)
A(combination_test_dummy, via2, -1.75, 3.63, 0.2, 0.2, 7, 4, 0.4, 0.4)
A(combination_test_dummy, via2, 15.34, 3.63, 0.2, 0.2, 7, 4, 0.4, 0.4)
R(combination_test_dummy, met3, [(-2,-42.105,1.1,-40.555), (15.09,-42.105,18.19,-40.555), (-2,3.555,1.1,5.105), (15.09,3.555,18.19,5.105)])
A(combination_test_dummy, via3, -1.75, -41.83, 0.2, 0.2, 7, 3, 0.4, 0.4)
A(combination_test_dummy, via3, 15.34, -41.83, 0.2, 0.2, 7, 3, 0.4, 0.4)
A(combination_test_dummy, via3, -1.75, 3.83, 0.2, 0.2, 7, 3, 0.4, 0.4)
A(combination_test_dummy, via3, 15.34, 3.83, 0.2, 0.2, 7, 3, 0.4, 0.4)
R(combination_test_dummy, met4, [(-1.955,-42.085,1.055,-40.575), (15.135,-42.085,18.145,-40.575), (-1.955,3.575,1.055,5.085), (15.135,3.575,18.145,5.085)])
R(combination_test_dummy, hvi, [(-2.725,-42.855,18.915,-41.865), (-2.725,-41.865,-1.735,-10.635), (17.925,-41.865,18.915,-10.635), (-2.725,-10.635,18.915,-9.645), (-2.87,-8.94,19.06,6)])
R(combination_test_dummy, nsdm, [(-2.665,-8.735,18.855,-7.865), (-2.665,-7.865,-1.795,4.925), (17.985,-7.865,18.855,4.925), (-2.665,4.925,18.855,5.795)])
R(combination_test_dummy, psdm, [(-2.665,-42.795,18.855,-41.925), (-2.665,-41.925,-1.795,-10.575), (17.985,-41.925,18.855,-10.575), (-2.665,-10.575,18.855,-9.705)])
R(combination_test_dummy, boundary, [(-2.23,-42.36,18.42,-10.14)])
combination_test_dummy.add(gdstk.Reference(sky130_fd_pr__nfet_01v8_, (15.4,-33.25)))
combination_test_dummy.add(gdstk.Reference(sky130_fd_pr__nfet_01v8_, (0,-37.35)))
combination_test_dummy.add(gdstk.Reference(c_sky130_fd_pr__nfet_01v8_, (0,-33.25)))
combination_test_dummy.add(gdstk.Reference(sky130_fd_pr__nfet_01v8_, (15.4,-28.49)))
combination_test_dummy.add(gdstk.Reference(c_sky130_fd_pr__nfet_01v8_, (15.4,-24.39)))
combination_test_dummy.add(gdstk.Reference(sky130_fd_pr__nfet_01v8_, (14,-28.49)))
combination_test_dummy.add(gdstk.Reference(c_sky130_fd_pr__nfet_01v8_, (14,-24.39)))
combination_test_dummy.add(gdstk.Reference(sky130_fd_pr__nfet_01v8_, (12.6,-28.49)))
combination_test_dummy.add(gdstk.Reference(c_sky130_fd_pr__nfet_01v8_, (12.6,-24.39)))
combination_test_dummy.add(gdstk.Reference(sky130_fd_pr__nfet_01v8_, (11.2,-28.49)))
combination_test_dummy.add(gdstk.Reference(c_sky130_fd_pr__nfet_01v8_, (11.2,-24.39)))
combination_test_dummy.add(gdstk.Reference(sky130_fd_pr__nfet_01v8_, (9.8,-28.49)))
combination_test_dummy.add(gdstk.Reference(c_sky130_fd_pr__nfet_01v8_, (9.8,-24.39)))
combination_test_dummy.add(gdstk.Reference(sky130_fd_pr__nfet_01v8_, (5.6,-28.49)))
combination_test_dummy.add(gdstk.Reference(c_sky130_fd_pr__nfet_01v8_, (5.6,-24.39)))
combination_test_dummy.add(gdstk.Reference(sky130_fd_pr__nfet_01v8_, (4.2,-28.49)))
combination_test_dummy.add(gdstk.Reference(c_sky130_fd_pr__nfet_01v8_, (4.2,-24.39)))
combination_test_dummy.add(gdstk.Reference(sky130_fd_pr__nfet_01v8_, (2.8,-28.49)))
combination_test_dummy.add(gdstk.Reference(c_sky130_fd_pr__nfet_01v8_, (2.8,-24.39)))
combination_test_dummy.add(gdstk.Reference(sky130_fd_pr__nfet_01v8_, (1.4,-28.49)))
combination_test_dummy.add(gdstk.Reference(c_sky130_fd_pr__nfet_01v8_, (1.4,-24.39)))
combination_test_dummy.add(gdstk.Reference(sky130_fd_pr__nfet_01v8_, (0,-28.49)))
combination_test_dummy.add(gdstk.Reference(c_sky130_fd_pr__nfet_01v8_, (0,-24.39)))
combination_test_dummy.add(gdstk.Reference(sky130_fd_pr__nfet_01v8_, (15.4,-17.99)))
combination_test_dummy.add(gdstk.Reference(c_sky130_fd_pr__nfet_01v8_, (15.4,-13.89)))
combination_test_dummy.add(gdstk.Reference(sky130_fd_pr__nfet_01v8_, (0,-17.99)))
combination_test_dummy.add(gdstk.Reference(c_sky130_fd_pr__nfet_01v8_, (0,-13.89)))
combination_test_dummy.add(gdstk.Reference(c_sky130_fd_pr__nfet_01v8_, (13.995,-37.205)))
combination_test_dummy.add(gdstk.Reference(c_sky130_fd_pr__nfet_01v8_, (12.595,-37.205)))
combination_test_dummy.add(gdstk.Reference(c_sky130_fd_pr__nfet_01v8_, (11.195,-37.205)))
combination_test_dummy.add(gdstk.Reference(c_sky130_fd_pr__nfet_01v8_, (9.795,-37.205)))
combination_test_dummy.add(gdstk.Reference(c_sky130_fd_pr__nfet_01v8_, (8.395,-37.205)))
combination_test_dummy.add(gdstk.Reference(c_sky130_fd_pr__nfet_01v8_, (6.995,-37.205)))
combination_test_dummy.add(gdstk.Reference(c_sky130_fd_pr__nfet_01v8_, (5.595,-37.205)))
combination_test_dummy.add(gdstk.Reference(c_sky130_fd_pr__nfet_01v8_, (4.195,-37.205)))
combination_test_dummy.add(gdstk.Reference(c_sky130_fd_pr__nfet_01v8_, (2.795,-37.205)))
combination_test_dummy.add(gdstk.Reference(c_sky130_fd_pr__nfet_01v8_, (1.395,-37.205)))
combination_test_dummy.add(gdstk.Reference(sky130_fd_pr__nfet_01v8_, (13.995,-33.405)))
combination_test_dummy.add(gdstk.Reference(sky130_fd_pr__nfet_01v8_, (12.595,-33.405)))
combination_test_dummy.add(gdstk.Reference(sky130_fd_pr__nfet_01v8_, (11.195,-33.405)))
combination_test_dummy.add(gdstk.Reference(sky130_fd_pr__nfet_01v8_, (9.795,-33.405)))
combination_test_dummy.add(gdstk.Reference(sky130_fd_pr__nfet_01v8_, (8.395,-33.405)))
combination_test_dummy.add(gdstk.Reference(sky130_fd_pr__nfet_01v8_, (6.995,-33.405)))
combination_test_dummy.add(gdstk.Reference(sky130_fd_pr__nfet_01v8_, (5.595,-33.405)))
combination_test_dummy.add(gdstk.Reference(sky130_fd_pr__nfet_01v8_, (4.195,-33.405)))
combination_test_dummy.add(gdstk.Reference(sky130_fd_pr__nfet_01v8_, (2.795,-33.405)))
combination_test_dummy.add(gdstk.Reference(sky130_fd_pr__nfet_01v8_, (1.395,-33.405)))
combination_test_dummy.add(gdstk.Reference(sky130_fd_pr__nfet_01v8_, (8.39,-28.68)))
combination_test_dummy.add(gdstk.Reference(sky130_fd_pr__nfet_01v8_, (6.99,-28.68)))
combination_test_dummy.add(gdstk.Reference(c_sky130_fd_pr__nfet_01v8__, (8.395,-24.545)))
combination_test_dummy.add(gdstk.Reference(c_sky130_fd_pr__nfet_01v8__, (13.995,-18.145)))
combination_test_dummy.add(gdstk.Reference(c_sky130_fd_pr__nfet_01v8__, (12.595,-18.145)))
combination_test_dummy.add(gdstk.Reference(c_sky130_fd_pr__nfet_01v8__, (11.195,-18.145)))
combination_test_dummy.add(gdstk.Reference(c_sky130_fd_pr__nfet_01v8__, (9.795,-18.145)))
combination_test_dummy.add(gdstk.Reference(c_sky130_fd_pr__nfet_01v8__, (8.395,-18.145)))
combination_test_dummy.add(gdstk.Reference(c_sky130_fd_pr__nfet_01v8__, (6.995,-18.145)))
combination_test_dummy.add(gdstk.Reference(c_sky130_fd_pr__nfet_01v8__, (5.595,-18.145)))
combination_test_dummy.add(gdstk.Reference(c_sky130_fd_pr__nfet_01v8__, (4.195,-18.145)))
combination_test_dummy.add(gdstk.Reference(c_sky130_fd_pr__nfet_01v8__, (2.795,-18.145)))
combination_test_dummy.add(gdstk.Reference(c_sky130_fd_pr__nfet_01v8__, (1.395,-18.145)))
combination_test_dummy.add(gdstk.Reference(c_sky130_fd_pr__nfet_01v8__, (13.995,-14.045)))
combination_test_dummy.add(gdstk.Reference(c_sky130_fd_pr__nfet_01v8__, (12.595,-14.045)))
combination_test_dummy.add(gdstk.Reference(c_sky130_fd_pr__nfet_01v8__, (11.195,-14.045)))
combination_test_dummy.add(gdstk.Reference(c_sky130_fd_pr__nfet_01v8__, (9.795,-14.045)))
combination_test_dummy.add(gdstk.Reference(c_sky130_fd_pr__nfet_01v8__, (8.395,-14.045)))
combination_test_dummy.add(gdstk.Reference(c_sky130_fd_pr__nfet_01v8__, (6.995,-14.045)))
combination_test_dummy.add(gdstk.Reference(c_sky130_fd_pr__nfet_01v8__, (5.595,-14.045)))
combination_test_dummy.add(gdstk.Reference(c_sky130_fd_pr__nfet_01v8__, (4.195,-14.045)))
combination_test_dummy.add(gdstk.Reference(c_sky130_fd_pr__nfet_01v8__, (2.795,-14.045)))
combination_test_dummy.add(gdstk.Reference(c_sky130_fd_pr__nfet_01v8__, (1.395,-14.045)))
combination_test_dummy.add(gdstk.Reference(sky130_fd_pr__pfet_01v8_, (15.4,-3.58)))
combination_test_dummy.add(gdstk.Reference(sky130_fd_pr__pfet_01v8_, (14,-3.58)))
combination_test_dummy.add(gdstk.Reference(sky130_fd_pr__pfet_01v8_, (12.6,-3.58)))
combination_test_dummy.add(gdstk.Reference(sky130_fd_pr__pfet_01v8_, (11.2,-3.58)))
combination_test_dummy.add(gdstk.Reference(sky130_fd_pr__pfet_01v8_, (9.8,-3.58)))
combination_test_dummy.add(gdstk.Reference(sky130_fd_pr__pfet_01v8_, (8.4,-3.58)))
combination_test_dummy.add(gdstk.Reference(sky130_fd_pr__pfet_01v8_, (7,-3.58)))
combination_test_dummy.add(gdstk.Reference(sky130_fd_pr__pfet_01v8_, (5.6,-3.58)))
combination_test_dummy.add(gdstk.Reference(sky130_fd_pr__pfet_01v8_, (4.2,-3.58)))
combination_test_dummy.add(gdstk.Reference(sky130_fd_pr__pfet_01v8_, (2.8,-3.58)))
combination_test_dummy.add(gdstk.Reference(sky130_fd_pr__pfet_01v8_, (1.4,-3.58)))
combination_test_dummy.add(gdstk.Reference(sky130_fd_pr__pfet_01v8_, (0,-3.58)))
combination_test_dummy.add(gdstk.Reference(sky130_fd_pr__pfet_01v8_, (15.4,0)))
combination_test_dummy.add(gdstk.Reference(sky130_fd_pr__pfet_01v8_, (14,0)))
combination_test_dummy.add(gdstk.Reference(sky130_fd_pr__pfet_01v8_, (12.6,0)))
combination_test_dummy.add(gdstk.Reference(sky130_fd_pr__pfet_01v8_, (11.2,0)))
combination_test_dummy.add(gdstk.Reference(sky130_fd_pr__pfet_01v8_, (9.8,0)))
combination_test_dummy.add(gdstk.Reference(sky130_fd_pr__pfet_01v8_, (8.4,0)))
combination_test_dummy.add(gdstk.Reference(sky130_fd_pr__pfet_01v8_, (7,0)))
combination_test_dummy.add(gdstk.Reference(sky130_fd_pr__pfet_01v8_, (5.6,0)))
combination_test_dummy.add(gdstk.Reference(sky130_fd_pr__pfet_01v8_, (4.2,0)))
combination_test_dummy.add(gdstk.Reference(sky130_fd_pr__pfet_01v8_, (2.8,0)))
combination_test_dummy.add(gdstk.Reference(sky130_fd_pr__pfet_01v8_, (1.4,0)))
combination_test_dummy.add(gdstk.Reference(sky130_fd_pr__pfet_01v8_, (0,0)))
combination_test_dummy.add(gdstk.Reference(c_sky130_fd_pr__nfet_01v8__, (6.995,-24.545)))
combination_test_dummy.add(gdstk.Reference(c_sky130_fd_pr__nfet_01v8___, (15.4,-37.05)))
combination_test_dummy.add(gdstk.Label('VDD', (3.78,3.6), layer=68, texttype=5))
combination_test_dummy.add(gdstk.Label('CLK', (16.62,-9.21), layer=68, texttype=5))
combination_test_dummy.add(gdstk.Label('Voutplus', (0.42,-6.75), layer=68, texttype=5))
combination_test_dummy.add(gdstk.Label('Voutminus', (12.09,-6.99), layer=68, texttype=5))
combination_test_dummy.add(gdstk.Label('Vioplus', (1.02,-30.53), layer=68, texttype=5))
combination_test_dummy.add(gdstk.Label('Viominus', (14,-31.03), layer=68, texttype=5))
combination_test_dummy.add(gdstk.Label('VSS', (16.17,-35.35), layer=68, texttype=5))

lib.write_gds('combination_test_DUMMY.gds')
